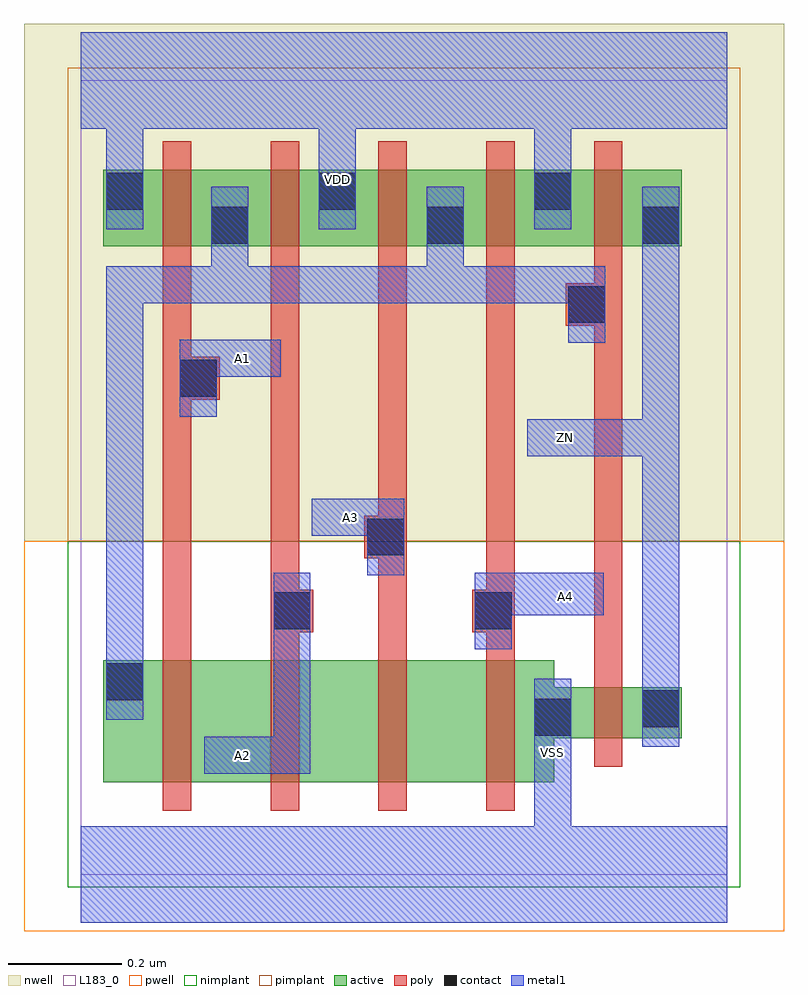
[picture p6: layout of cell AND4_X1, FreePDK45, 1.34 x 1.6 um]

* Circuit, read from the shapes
.subckt AND4_X1 A1 A2 A3 A4 VDD VSS ZN
M1 n1 A1 n2 VSUBS nfet w=0.215u l=0.05u
M2 n3 A2 n1 VSUBS nfet w=0.215u l=0.05u
M3 n4 A3 n3 VSUBS nfet w=0.215u l=0.05u
M4 VSS A4 n4 VSUBS nfet w=0.215u l=0.05u
M5 ZN n2 VSS VSUBS nfet w=0.09u l=0.05u
M6 n2 A1 VDD n5 pfet w=0.135u l=0.05u
M7 VDD A2 n2 n5 pfet w=0.135u l=0.05u
M8 n2 A3 VDD n5 pfet w=0.135u l=0.05u
M9 VDD A4 n2 n5 pfet w=0.135u l=0.05u
M10 ZN n2 VDD n5 pfet w=0.135u l=0.05u
.ends

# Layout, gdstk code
import gdstk
lib = gdstk.Library(unit=1e-6, precision=1e-10)
def R(c, l, rs):  # rectangles x0, y0, x1, y1
    for r in rs: c.add(gdstk.rectangle(r[:2], r[2:], *l))
def A(c, l, x, y, w, h, nx, ny, dx, dy):  # array of equal rectangles
    R(c, l, [(x+i*dx, y+j*dy, x+i*dx+w, y+j*dy+h) for i in range(nx) for j in range(ny)])
def P(c, l, *ps):  # polygons
    for p in ps: c.add(gdstk.Polygon(p, *l))
active = (1, 0)
pwell = (2, 0)
nwell = (3, 0)
nimplant = (4, 0)
pimplant = (5, 0)
poly = (9, 0)
contact = (10, 0)
metal1 = (11, 0)
L183_0 = (183, 0)

and4_x1 = lib.new_cell('AND4_X1')
P(and4_x1, active, [(0.04,0.1625),(0.145,0.1625),(0.195,0.1625),(0.335,0.1625),(0.385,0.1625),(0.525,0.1625),(0.575,0.1625),(0.715,0.1625),(0.765,0.1625),(0.835,0.1625),(0.835,0.24),(0.905,0.24),(0.955,0.24),(1.06,0.24),(1.06,0.33),(0.955,0.33),(0.905,0.33),(0.835,0.33),(0.835,0.3775),(0.765,0.3775),(0.715,0.3775),(0.575,0.3775),(0.525,0.3775),(0.385,0.3775),(0.335,0.3775),(0.195,0.3775),(0.145,0.3775),(0.04,0.3775)],
  [(0.04,1.1075),(0.145,1.1075),(0.195,1.1075),(0.335,1.1075),(0.385,1.1075),(0.525,1.1075),(0.575,1.1075),(0.715,1.1075),(0.765,1.1075),(0.905,1.1075),(0.955,1.1075),(1.06,1.1075),(1.06,1.2425),(0.955,1.2425),(0.905,1.2425),(0.765,1.2425),(0.715,1.2425),(0.575,1.2425),(0.525,1.2425),(0.385,1.2425),(0.335,1.2425),(0.195,1.2425),(0.145,1.2425),(0.04,1.2425)])
P(and4_x1, pwell, [(-0.1,-0.1),(1.24,-0.1),(1.24,0.5875),(1.04,0.5875),(0.1,0.5875),(-0.1,0.5875)])
P(and4_x1, nwell, [(-0.1,0.5875),(0.1,0.5875),(1.04,0.5875),(1.24,0.5875),(1.24,1.5),(-0.1,1.5)])
R(and4_x1, nimplant, [(-0.0225,-0.0225,1.1625,0.5875)])
R(and4_x1, pimplant, [(-0.0225,0.5875,1.1625,1.4225)])
P(and4_x1, poly, [(0.145,0.1125),(0.195,0.1125),(0.195,0.1625),(0.195,0.3775),(0.195,0.8375),(0.245,0.8375),(0.245,0.9125),(0.195,0.9125),(0.195,1.1075),(0.195,1.2425),(0.195,1.2925),(0.145,1.2925),(0.145,1.2425),(0.145,1.1075),(0.145,0.3775),(0.145,0.1625)],
  [(0.335,0.1125),(0.385,0.1125),(0.385,0.1625),(0.385,0.3775),(0.385,0.4275),(0.41,0.4275),(0.41,0.5025),(0.385,0.5025),(0.385,1.1075),(0.385,1.2425),(0.385,1.2925),(0.335,1.2925),(0.335,1.2425),(0.335,1.1075),(0.335,0.3775),(0.335,0.1625)],
  [(0.5,0.5575),(0.525,0.5575),(0.525,0.3775),(0.525,0.1625),(0.525,0.1125),(0.575,0.1125),(0.575,0.1625),(0.575,0.3775),(0.575,1.1075),(0.575,1.2425),(0.575,1.2925),(0.525,1.2925),(0.525,1.2425),(0.525,1.1075),(0.525,0.6325),(0.5,0.6325)],
  [(0.69,0.4275),(0.715,0.4275),(0.715,0.3775),(0.715,0.1625),(0.715,0.1125),(0.765,0.1125),(0.765,0.1625),(0.765,0.3775),(0.765,1.1075),(0.765,1.2425),(0.765,1.2925),(0.715,1.2925),(0.715,1.2425),(0.715,1.1075),(0.715,0.5025),(0.69,0.5025)],
  [(0.855,0.9675),(0.905,0.9675),(0.905,0.33),(0.905,0.24),(0.905,0.19),(0.955,0.19),(0.955,0.24),(0.955,0.33),(0.955,1.1075),(0.955,1.2425),(0.955,1.2925),(0.905,1.2925),(0.905,1.2425),(0.905,1.1075),(0.905,1.0425),(0.855,1.0425)])
A(and4_x1, contact, 0.23, 1.1125, 0.065, 0.065, 3, 1, 0.38, 0)
R(and4_x1, contact, [(0.8,0.245,0.865,0.31), (0.99,0.26,1.055,0.325), (0.045,0.3075,0.11,0.3725), (0.34,0.4325,0.405,0.4975), (0.695,0.4325,0.76,0.4975), (0.505,0.5625,0.57,0.6275), (0.175,0.8425,0.24,0.9075), (0.86,0.9725,0.925,1.0375), (0.045,1.1725,0.11,1.2375), (0.42,1.1725,0.485,1.2375), (0.8,1.1725,0.865,1.2375)])
P(and4_x1, metal1, [(0.4075,0.5975),(0.505,0.5975),(0.505,0.5275),(0.57,0.5275),(0.57,0.6625),(0.4075,0.6625)],
  [(0.695,0.3975),(0.76,0.3975),(0.76,0.4575),(0.9225,0.4575),(0.9225,0.5325),(0.695,0.5325)],
  [(0.045,0.2725),(0.11,0.2725),(0.11,1.0075),(0.86,1.0075),(0.86,0.9375),(0.925,0.9375),(0.925,1.0725),(0.675,1.0725),(0.675,1.2125),(0.61,1.2125),(0.61,1.0725),(0.295,1.0725),(0.295,1.2125),(0.23,1.2125),(0.23,1.0725),(0.045,1.0725)],
  [(0.7875,0.7375),(0.99,0.7375),(0.99,0.225),(1.055,0.225),(1.055,1.2125),(0.99,1.2125),(0.99,0.8025),(0.7875,0.8025)],
  [(0,-0.085),(1.14,-0.085),(1.14,0.085),(0.865,0.085),(0.865,0.345),(0.8,0.345),(0.8,0.085),(0,0.085)],
  [(0,1.315),(0.045,1.315),(0.045,1.1375),(0.11,1.1375),(0.11,1.315),(0.42,1.315),(0.42,1.1375),(0.485,1.1375),(0.485,1.315),(0.8,1.315),(0.8,1.1375),(0.865,1.1375),(0.865,1.315),(1.14,1.315),(1.14,1.485),(0,1.485)],
  [(0.175,0.8075),(0.24,0.8075),(0.24,0.8775),(0.3525,0.8775),(0.3525,0.9425),(0.175,0.9425)],
  [(0.2175,0.1775),(0.405,0.1775),(0.405,0.5325),(0.34,0.5325),(0.34,0.2425),(0.2175,0.2425)])
R(and4_x1, L183_0, [(0,0,1.14,1.4)])
and4_x1.add(gdstk.Label('A1', (0.285,0.91), layer=11, texttype=0))
and4_x1.add(gdstk.Label('A2', (0.285,0.21), layer=11, texttype=0))
and4_x1.add(gdstk.Label('A3', (0.475,0.63), layer=11, texttype=0))
and4_x1.add(gdstk.Label('A4', (0.855,0.49), layer=11, texttype=0))
and4_x1.add(gdstk.Label('VDD', (0.4525,1.2262), layer=11, texttype=0))
and4_x1.add(gdstk.Label('VSS', (0.8325,0.215), layer=11, texttype=0))
and4_x1.add(gdstk.Label('ZN', (0.855,0.77), layer=11, texttype=0))

lib.write_gds('AND4_X1.gds')
